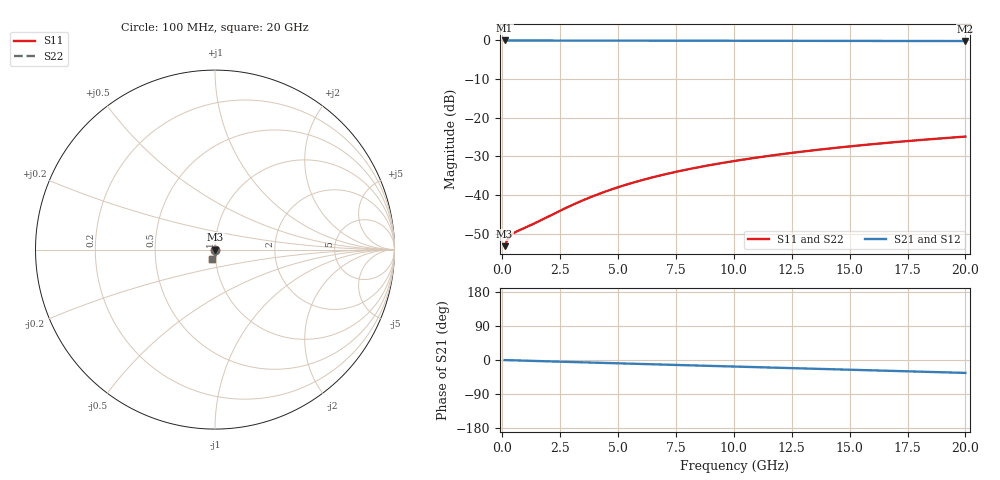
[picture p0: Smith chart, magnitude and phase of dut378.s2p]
! Touchstone file exported from HFSS 2026.1.0
!  File:  C:/ffzhzh/LocalFiles/Ansys_Project_Files/temp_train_TMRDL_378_1783004507_55676.aedt
!  Generated:  11:02:59 PM Jul  2, 2026
!  Design:  TMRDL
!  Project:  temp_train_TMRDL_378_1783004507_55676
! Variables:
!  h_bsmrdl = 2um
!  h_ox = 20um
!  h_rdl = 5um
!  h_sub = 80um
!  h_tmrdl = 5.34um
!  h_tsv = 80um
!  h_via = 3um
!  l_bsmrdl = 300um
!  l_sub = 1011.31um
!  l_tmrdl = 611.31um
!  m_sub = 200um
!  pitch = 25.93um
!  r_tsv = 6um
!  s_tmrdl = 10um
!  w_bsmrdl = 18um
!  w_sub = 500um
!  w_tmrdl = 21.8um
!  x_tsv_center1 = 622.21um
!  x_tsv_center2 = 940.21um
!  x_tsv_center3 = 1573.32um
!  x_tsv_center4 = 1891.32um
!  x_tsv_center5 = 2524.43um
!  x_tsv_center6 = 2842.43um
# GHz S MA R 50.000000
! Terminal data exported
! Port[1] = TM_RDL1_1_T1
! Port[2] = TM_RDL1_1_T2
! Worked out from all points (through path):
!   200 points, 100 MHz to 20 GHz, reference 50 ohm
!   highest |S21| = -0.02 dB at 100 MHz (marker M1); lowest = -0.2 dB at 20 GHz (marker M2)
!   group delay of S21, straight-line fit = 4.71 ps
!   lowest |S11| = -53.2 dB at 100 MHz (marker M3), VSWR 1.00, Z = 50.2 + j0.038 ohm
!   |S11| at or under -10 dB: start of sweep to end of sweep
!   |S22| runs from -53.2 to -24.9 dB; largest |S21 - S12| = 1e-14
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0.1  0.002185 10.0  0.9978 -0.2  0.9978 -0.2  0.002185 10.0
! Gamma 0 0 0 0
! Port Impedance 50 0 50 0
0.2  0.002572 10.8  0.9975 -0.4  0.9975 -0.4  0.002572 10.8
0.3  0.002872 7.5  0.9972 -0.6  0.9972 -0.6  0.002871 7.5
0.4  0.003079 3.5  0.9969 -0.8  0.9969 -0.8  0.003078 3.5
0.5  0.003231 -0.3  0.9967 -0.9  0.9967 -0.9  0.00323 -0.4
0.7  0.003469 -7.0  0.9965 -1.3  0.9965 -1.3  0.003467 -7.0
1.4  0.004321 -23.3  0.9959 -2.5  0.9959 -2.5  0.004317 -23.3
2.7  0.006711 -41.1  0.9946 -4.8  0.9946 -4.8  0.006701 -41.1
3.5  0.008599 -48.4  0.9936 -6.2  0.9936 -6.2  0.008584 -48.5
4.3  0.01069 -54.4  0.9926 -7.6  0.9926 -7.6  0.01067 -54.5
5.1  0.01291 -59.6  0.9917 -9.0  0.9917 -9.0  0.01289 -59.7
5.9  0.01522 -64.0  0.9909 -10.3  0.9909 -10.3  0.01519 -64.2
6.8  0.01788 -68.5  0.99 -11.9  0.99 -11.9  0.01784 -68.7
7.5  0.01997 -71.6  0.9894 -13.0  0.9894 -13.0  0.01992 -71.8
8.3  0.02238 -74.8  0.9887 -14.4  0.9887 -14.4  0.02233 -75.0
9.2  0.02511 -78.1  0.9879 -15.9  0.9879 -15.9  0.02504 -78.4
10.1  0.02784 -81.2  0.9872 -17.4  0.9872 -17.4  0.02776 -81.5
11.7  0.03269 -86.1  0.986 -20.1  0.986 -20.1  0.03259 -86.4
13.4  0.03781 -90.8  0.9848 -23.0  0.9848 -23.0  0.0377 -91.2
15  0.04259 -94.9  0.9836 -25.7  0.9836 -25.7  0.04246 -95.3
16.7  0.04761 -99.0  0.9824 -28.5  0.9824 -28.5  0.04745 -99.4
20  0.05705 -106.4  0.9801 -34.1  0.9801 -34.1  0.05685 -106.9
